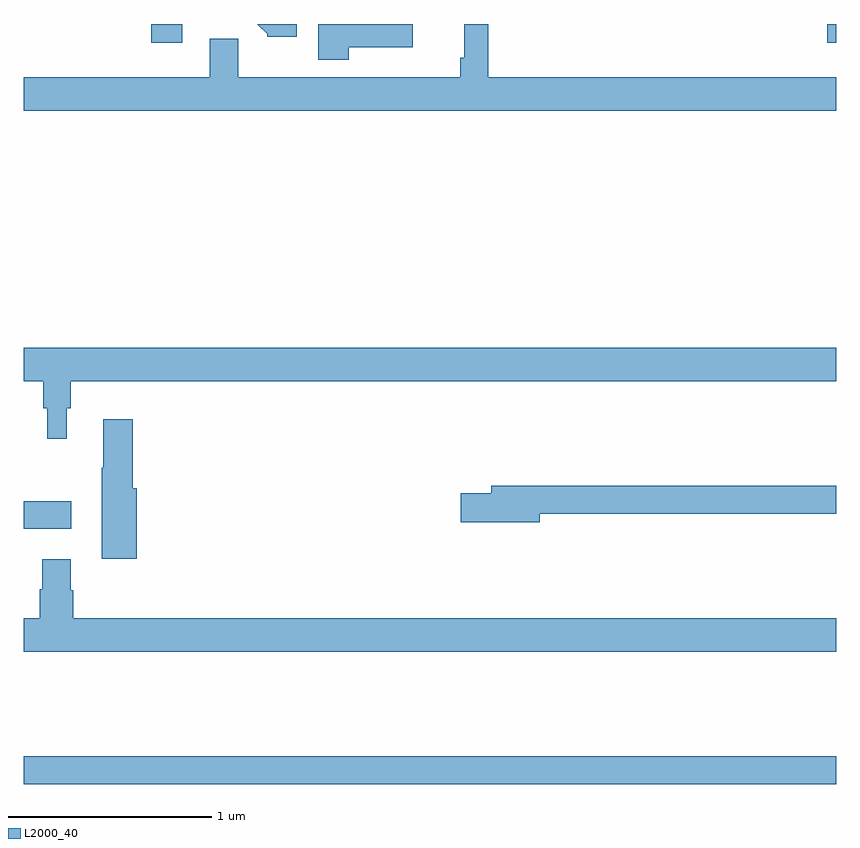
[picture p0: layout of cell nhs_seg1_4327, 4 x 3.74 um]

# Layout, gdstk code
import gdstk
lib = gdstk.Library(unit=1e-6, precision=1e-09)
def R(c, l, rs):  # rectangles x0, y0, x1, y1
    for r in rs: c.add(gdstk.rectangle(r[:2], r[2:], *l))
def P(c, l, *ps):  # polygons
    for p in ps: c.add(gdstk.Polygon(p, *l))
L2000_40 = (2000, 40)

nhs_seg1_4327 = lib.new_cell('nhs_seg1_4327')
R(nhs_seg1_4327, L2000_40, [(347,508.456,351,508.592), (347,509.714,347.233,509.849), (347.627,512.106,347.779,512.199), (350.957,512.106,351,512.199)])
P(nhs_seg1_4327, L2000_40, [(347.915,512.126),(347.915,511.936),(347,511.936),(347,511.772),(351,511.772),(351,511.936),(349.286,511.936),(349.286,512.199),(349.168,512.199),(349.168,512.032),(349.15,512.032),(349.15,511.936),(348.055,511.936),(348.055,512.126)],
  [(348.343,512.199),(348.149,512.199),(348.198,512.15),(348.198,512.135),(348.343,512.135)],
  [(348.599,512.084),(348.916,512.084),(348.916,512.199),(348.45,512.199),(348.45,512.022),(348.599,512.022)],
  [(347.212,510.306),(347.231,510.306),(347.231,510.44),(351,510.44),(351,510.604),(347,510.604),(347,510.44),(347.095,510.44),(347.095,510.306),(347.114,510.306),(347.114,510.156),(347.212,510.156)],
  [(347.555,509.913),(347.537,509.913),(347.537,510.253),(347.39,510.253),(347.39,510.013),(347.384,510.013),(347.384,509.565),(347.555,509.565)],
  [(349.54,509.788),(351,509.788),(351,509.924),(349.301,509.924),(349.301,509.888),(349.152,509.888),(349.152,509.746),(349.54,509.746)],
  [(347.09,509.563),(347.09,509.414),(347.078,509.414),(347.078,509.272),(347,509.272),(347,509.108),(351,509.108),(351,509.272),(347.243,509.272),(347.243,509.409),(347.23,509.409),(347.23,509.563)])

lib.write_gds('nhs_seg1_4327.gds')
